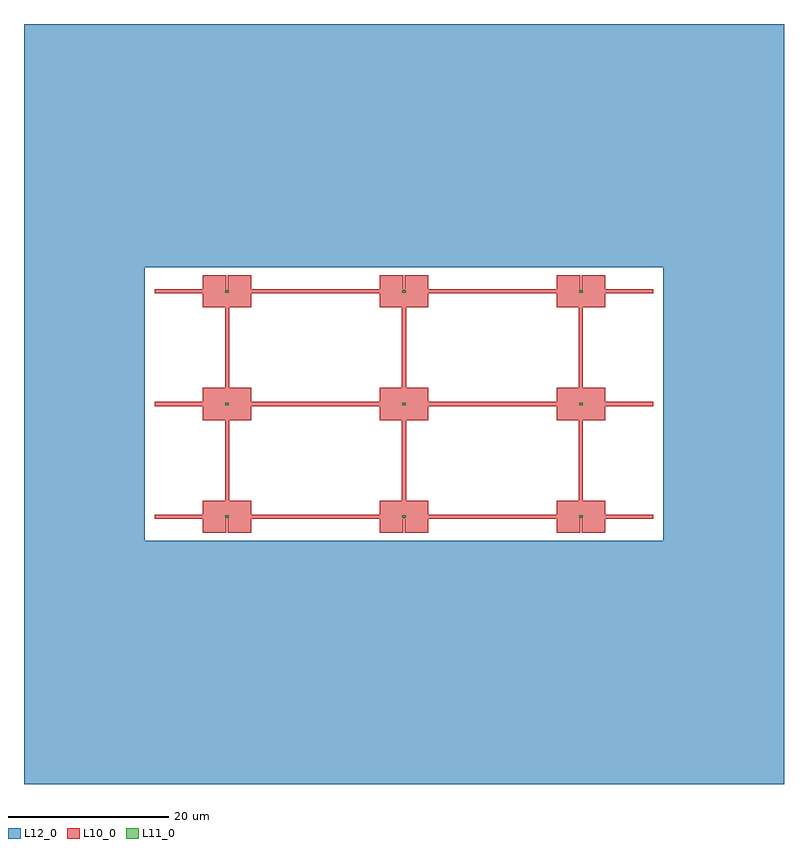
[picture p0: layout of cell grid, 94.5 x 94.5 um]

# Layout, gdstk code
import gdstk
lib = gdstk.Library(unit=1e-6, precision=1e-09)
def R(c, l, rs):  # rectangles x0, y0, x1, y1
    for r in rs: c.add(gdstk.rectangle(r[:2], r[2:], *l))
def A(c, l, x, y, w, h, nx, ny, dx, dy):  # array of equal rectangles
    R(c, l, [(x+i*dx, y+j*dy, x+i*dx+w, y+j*dy+h) for i in range(nx) for j in range(ny)])
L10_0 = (10, 0)
L11_0 = (11, 0)
L12_0 = (12, 0)

grid = lib.new_cell('grid')
A(grid, L10_0, -25, -16, 2.9, 4, 1, 3, 0, 14)
A(grid, L10_0, -21.9, -16, 2.9, 4, 1, 3, 0, 14)
A(grid, L10_0, -3, -16, 2.9, 4, 1, 3, 0, 14)
A(grid, L10_0, 0.1, -16, 2.9, 4, 1, 3, 0, 14)
A(grid, L10_0, 19, -16, 2.9, 4, 1, 3, 0, 14)
A(grid, L10_0, 22.1, -16, 2.9, 4, 1, 3, 0, 14)
A(grid, L10_0, -22, -14.25, 22, 0.5, 1, 3, 0, 14)
A(grid, L10_0, 0, -14.25, 22, 0.5, 1, 3, 0, 14)
A(grid, L10_0, -22.25, -14, 0.5, 14, 3, 2, 22, 14)
A(grid, L11_0, -22.2, -14.15, 0.4, 0.3, 3, 3, 22, 14)
R(grid, L12_0, [(-47.25,-47.25,47.25,-17), (-47.25,-17,-32.25,17), (32.25,-17,47.25,17), (-47.25,17,47.25,47.25)])
grid.add(gdstk.FlexPath([(-25,-14),(-31,-14)], 0.5, ends="flush", simple_path=True, layer=10, datatype=0))  # L10_0
grid.add(gdstk.FlexPath([(-19,-14),(-13,-14)], 0.5, ends="flush", simple_path=True, layer=10, datatype=0))  # L10_0
grid.add(gdstk.FlexPath([(-3,-14),(-9,-14)], 0.5, ends="flush", simple_path=True, layer=10, datatype=0))  # L10_0
grid.add(gdstk.FlexPath([(3,-14),(9,-14)], 0.5, ends="flush", simple_path=True, layer=10, datatype=0))  # L10_0
grid.add(gdstk.FlexPath([(19,-14),(13,-14)], 0.5, ends="flush", simple_path=True, layer=10, datatype=0))  # L10_0
grid.add(gdstk.FlexPath([(25,-14),(31,-14)], 0.5, ends="flush", simple_path=True, layer=10, datatype=0))  # L10_0
grid.add(gdstk.FlexPath([(-25,0),(-31,0)], 0.5, ends="flush", simple_path=True, layer=10, datatype=0))  # L10_0
grid.add(gdstk.FlexPath([(-19,0),(-13,0)], 0.5, ends="flush", simple_path=True, layer=10, datatype=0))  # L10_0
grid.add(gdstk.FlexPath([(-3,0),(-9,0)], 0.5, ends="flush", simple_path=True, layer=10, datatype=0))  # L10_0
grid.add(gdstk.FlexPath([(3,0),(9,0)], 0.5, ends="flush", simple_path=True, layer=10, datatype=0))  # L10_0
grid.add(gdstk.FlexPath([(19,0),(13,0)], 0.5, ends="flush", simple_path=True, layer=10, datatype=0))  # L10_0
grid.add(gdstk.FlexPath([(25,0),(31,0)], 0.5, ends="flush", simple_path=True, layer=10, datatype=0))  # L10_0
grid.add(gdstk.FlexPath([(-25,14),(-31,14)], 0.5, ends="flush", simple_path=True, layer=10, datatype=0))  # L10_0
grid.add(gdstk.FlexPath([(-19,14),(-13,14)], 0.5, ends="flush", simple_path=True, layer=10, datatype=0))  # L10_0
grid.add(gdstk.FlexPath([(-3,14),(-9,14)], 0.5, ends="flush", simple_path=True, layer=10, datatype=0))  # L10_0
grid.add(gdstk.FlexPath([(3,14),(9,14)], 0.5, ends="flush", simple_path=True, layer=10, datatype=0))  # L10_0
grid.add(gdstk.FlexPath([(19,14),(13,14)], 0.5, ends="flush", simple_path=True, layer=10, datatype=0))  # L10_0
grid.add(gdstk.FlexPath([(25,14),(31,14)], 0.5, ends="flush", simple_path=True, layer=10, datatype=0))  # L10_0

lib.write_gds('grid.gds')
